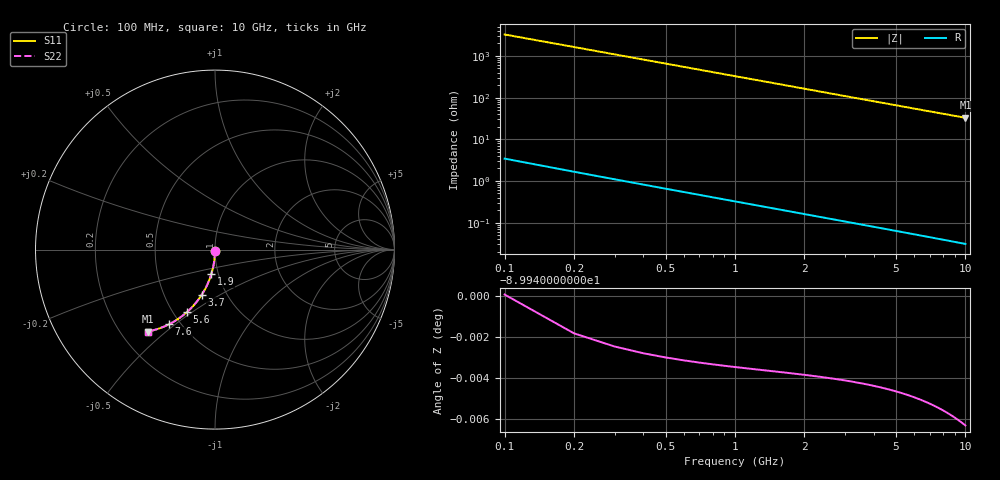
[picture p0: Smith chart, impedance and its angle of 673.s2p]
# Hz S RI R 50.00
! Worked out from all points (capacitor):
!   100 points, 100 MHz to 10 GHz, reference 50 ohm
!   read as one part in shunt: C = 486 fF near 100 MHz
!   lowest |Z| = 32.8 ohm at 10 GHz (marker M1)
!   S11 on the Smith chart (normalised r, x): 100 MHz: 1.00, -0.01; 1.9 GHz: 0.92, -0.26; 3.7 GHz: 0.76, -0.41; 5.6 GHz: 0.59, -0.48; 7.6 GHz: 0.43, -0.48; 10 GHz: 0.31, -0.43
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1e8  -5.82e-06 -0.00737  0.9999 -0.0079  0.9999 -0.0079  -5.82e-06 -0.00737
2e8  -0.000188 -0.0147  0.9997 -0.0158  0.9997 -0.0158  -0.000188 -0.0147
3e8  -0.000486 -0.0221  0.9994 -0.0237  0.9994 -0.0237  -0.000486 -0.0221
4e8  -0.0009 -0.0295  0.999 -0.0316  0.999 -0.0316  -0.0009 -0.0295
5e8  -0.00143 -0.0368  0.9984 -0.0394  0.9984 -0.0394  -0.00143 -0.0368
6e8  -0.00208 -0.0442  0.9978 -0.0473  0.9978 -0.0473  -0.00208 -0.0442
8e8  -0.00372 -0.0588  0.9962 -0.063  0.9962 -0.063  -0.00372 -0.0588
1.1e9  -0.00703 -0.0806  0.9928 -0.0863  0.9928 -0.0863  -0.00703 -0.0806
1.4e9  -0.0114 -0.1021  0.9885 -0.1095  0.9885 -0.1095  -0.0114 -0.1021
1.8e9  -0.0186 -0.1304  0.9812 -0.1398  0.9812 -0.1398  -0.0186 -0.1304
1.9e9  -0.0207 -0.1373  0.9791 -0.1473  0.9791 -0.1473  -0.0207 -0.1373
2.2e9  -0.0276 -0.1579  0.9722 -0.1695  0.9722 -0.1695  -0.0276 -0.1579
2.6e9  -0.0382 -0.1846  0.9616 -0.1983  0.9616 -0.1983  -0.0382 -0.1846
3.4e9  -0.0637 -0.235  0.936 -0.253  0.936 -0.253  -0.0637 -0.235
3.7e9  -0.0746 -0.2528  0.925 -0.2723  0.925 -0.2723  -0.0746 -0.2528
4.4e9  -0.1026 -0.2915  0.897 -0.3148  0.897 -0.3148  -0.1026 -0.2915
5.1e9  -0.1334 -0.3262  0.8661 -0.3533  0.8661 -0.3533  -0.1334 -0.3262
5.6e9  -0.1568 -0.3485  0.8427 -0.3782  0.8427 -0.3782  -0.1568 -0.3485
6.7e9  -0.2108 -0.3898  0.7884 -0.4256  0.7884 -0.4256  -0.2108 -0.3898
7.6e9  -0.2564 -0.4161  0.7426 -0.4568  0.7426 -0.4568  -0.2564 -0.4161
8.4e9  -0.297 -0.4341  0.7018 -0.4793  0.7018 -0.4793  -0.297 -0.4341
1e10  -0.3759 -0.457  0.6225 -0.5111  0.6225 -0.5111  -0.3759 -0.457
